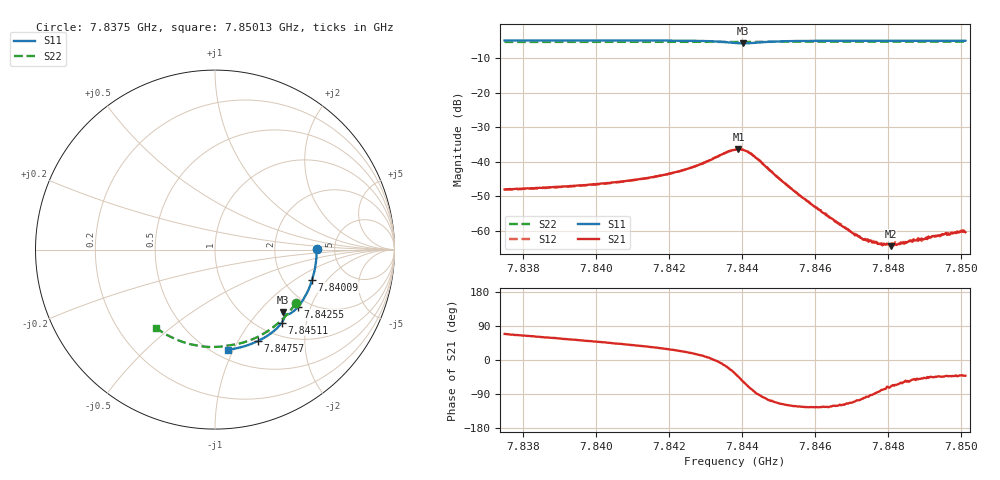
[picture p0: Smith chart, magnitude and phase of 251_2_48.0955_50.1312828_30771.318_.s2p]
#  HZ  S  RI  R  50.00
! Rohde & Schwarz Vector Network Analyzer
! Rohde-Schwarz,ZNB20-2Port,1311601062101988,3.16
! Created: UTC 12/23/2023, 3:59:45 AM
! freq[Hz]  re:S11  im:S11  re:S21  im:S21  re:S12  im:S12  re:S22  im:S22
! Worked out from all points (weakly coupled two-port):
!   401 points, 7.8375 GHz to 7.85013 GHz, reference 50 ohm
!   highest |S21| = -36.27 dB at 7.84391 GHz (marker M1); lowest = -64.4 dB at 7.84808 GHz (marker M2)
!   lowest |S11| = -5.8 dB at 7.84404 GHz (marker M3), VSWR 3.12, Z = 71.9 - j68.5 ohm
!   |S11| at or under -10 dB: nowhere
!   |S22| runs from -5.4 to -5.3 dB; largest |S21 - S12| = 0.00034
!   S11 on the Smith chart (normalised r, x): 7.8375 GHz: 3.61, +0.03; 7.84009 GHz: 2.85, -1.41; 7.84255 GHz: 1.75, -1.63; 7.84511 GHz: 1.25, -1.46; 7.84757 GHz: 0.81, -1.21; 7.85013 GHz: 0.58, -0.95
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7.837499e9  0.5664 0.00276  0.00144 0.00372  0.0015 0.00364  0.4491 -0.2997
7.839615e9  0.5502 -0.137  0.00283 0.00359  0.00279 0.00358  0.3515 -0.4107
7.840089e9  0.5415 -0.1677  0.00324 0.00356  0.00318 0.00353  0.3256 -0.4316
7.841731e9  0.4963 -0.2709  0.00536 0.0033  0.00533 0.00327  0.2272 -0.4913
7.842552e9  0.462 -0.3197  0.0076 0.0027  0.00756 0.0027  0.1736 -0.5128
7.843341e9  0.4131 -0.3585  0.012 -0.000802  0.0118 -0.000742  0.1198 -0.5271
7.843815e9  0.3793 -0.3578  0.0122 -0.00864  0.0122 -0.00867  0.0882 -0.5318
7.84391e9  0.3765 -0.3543  0.011 -0.0107  0.0109 -0.0106  0.0822 -0.5326
7.844036e9  0.3764 -0.3503  0.00815 -0.0125  0.00827 -0.0124  0.0742 -0.5337
7.844289e9  0.3839 -0.3528  0.0025 -0.0124  0.00248 -0.0125  0.058 -0.5368
7.84511e9  0.373 -0.4067  -0.00231 -0.0047  -0.00231 -0.00474  0.00108 -0.5427
7.845931e9  0.3322 -0.4504  -0.00136 -0.00197  -0.00136 -0.00199  -0.0569 -0.5406
7.847068e9  0.2674 -0.4948  -0.000323 -0.000863  -0.000324 -0.000893  -0.1358 -0.5271
7.847289e9  0.254 -0.502  -0.000175 -0.000768  -0.000176 -0.000806  -0.1507 -0.5232
7.847573e9  0.2368 -0.5106  -2.75e-05 -0.000683  -2.44e-05 -0.000689  -0.1698 -0.5175
7.847794e9  0.2233 -0.5167  9.34e-05 -0.000643  7.15e-05 -0.000636  -0.1846 -0.5127
7.848047e9  0.2076 -0.5233  0.000189 -0.000624  0.000192 -0.000615  -0.2011 -0.5066
7.848079e9  0.2056 -0.524  0.000199 -0.000572  0.000207 -0.000597  -0.2032 -0.5057
7.848458e9  0.1818 -0.533  0.000354 -0.000555  0.000388 -0.00058  -0.2278 -0.4952
7.849531e9  0.1126 -0.5514  0.000639 -0.000618  0.000648 -0.000598  -0.2941 -0.46
7.850037e9  0.0794 -0.5569  0.000769 -0.000645  0.000756 -0.00067  -0.3233 -0.4399
7.850131e9  0.0731 -0.5577  0.000721 -0.00064  0.000727 -0.000642  -0.3287 -0.436
